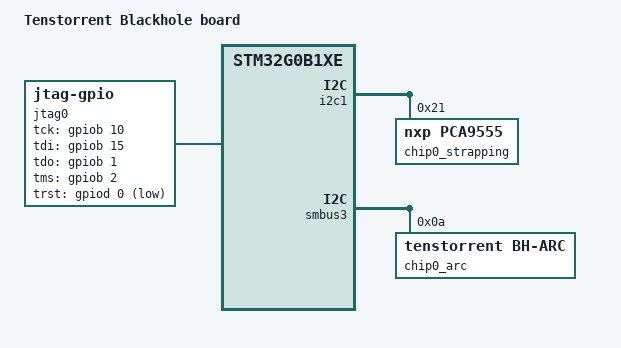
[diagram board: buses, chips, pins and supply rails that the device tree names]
/*
 * Copyright (c) 2024 Tenstorrent AI ULC
 *
 * SPDX-License-Identifier: Apache-2.0
 */

/dts-v1/;
#include <st/g0/stm32g0b1Xe.dtsi>
#include <st/g0/stm32g0b1c(b-c-e)tx-pinctrl.dtsi>

/ {
	model = "Tenstorrent Blackhole board";
	compatible = "tenstorrent,blackhole";

	chosen {
		zephyr,sram = &sram0;
		zephyr,flash = &flash0;
		zephyr,code-partition = &slot0_partition;
	};
};

#include "tt_blackhole_dmc.dtsi"

&chip0 {
	jtag0: jtag {
		compatible = "zephyr,jtag-gpio";
		port-write-cycles = <2>;

		tck-gpios = <&gpiob 10 GPIO_ACTIVE_HIGH>;
		tdi-gpios = <&gpiob 15 GPIO_ACTIVE_HIGH>;
		tdo-gpios = <&gpiob 1 GPIO_PULL_UP>;
		tms-gpios = <&gpiob 2 GPIO_ACTIVE_HIGH>;
		trst-gpios = <&gpiod 0 GPIO_ACTIVE_LOW>;
	};

	strapping {
		/* Use QUAD DDR SPI mode, GPIO[39:38] = 2 is QUAD mode, GPIO40 is DDR_EN */
		gpio38 {
			compatible = "zephyr,gpio-line";
			label = "GPIO pin representing strap GPIO38_SPI_MODE_0";
			gpios = <&chip0_strapping 3 GPIO_ACTIVE_LOW>;
		};

		gpio39 {
			compatible = "zephyr,gpio-line";
			label = "GPIO pin representing strap GPIO39_SPI_MODE_1";
			gpios = <&chip0_strapping 4 GPIO_ACTIVE_HIGH>;
		};

		gpio40 {
			compatible = "zephyr,gpio-line";
			label = "GPIO pin representing strap GPIO40_SPI_DDR_EN";
			gpios = <&chip0_strapping 5 GPIO_ACTIVE_HIGH>;
		};
	};
};

/ {
	chips {
		compatible = "tenstorrent,bh-chips";
		chips = <&chip0>;
		primary = <0>;
	};
};

&i2c1 {
	chip0_strapping: strapping_expander@21 {
		compatible = "nxp,pca9555";
		status = "okay";

		#gpio-cells = <2>;
		ngpios = <16>;
		reg = <0x21>;
		gpio-controller;
	};
};

&smbus3 {
	status = "okay";

	chip0_arc: bh_arc@A {
		compatible = "tenstorrent,bh-arc";
		reg = <0xA>;
	};
};
